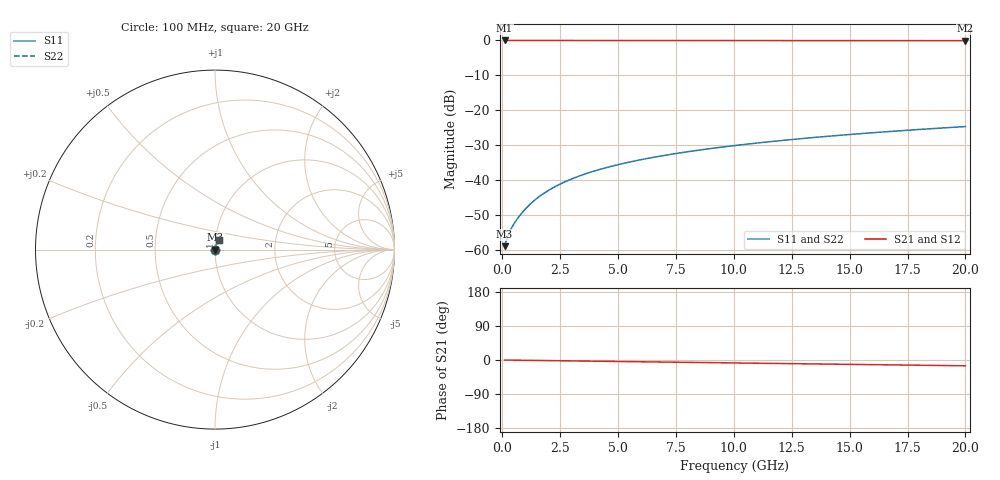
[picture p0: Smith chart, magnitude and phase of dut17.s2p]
! Touchstone file exported from HFSS 2026.1.0
!  File:  C:/ffzhzh/LocalFiles/Ansys_Project_Files/temp_train_TMRDL_17_1782880316_13352.aedt
!  Generated:  12:33:09 PM Jul  1, 2026
!  Design:  TMRDL
!  Project:  temp_train_TMRDL_17_1782880316_13352
! Variables:
!  h_bsmrdl = 2um
!  h_ox = 20um
!  h_rdl = 5um
!  h_sub = 80um
!  h_tmrdl = 4.51um
!  h_tsv = 80um
!  h_via = 3um
!  l_bsmrdl = 300um
!  l_sub = 650.76um
!  l_tmrdl = 250.76um
!  m_sub = 200um
!  pitch = 32.81um
!  r_tsv = 6um
!  s_tmrdl = 10um
!  w_bsmrdl = 18um
!  w_sub = 500um
!  w_tmrdl = 24.28um
!  x_tsv_center1 = 262.9um
!  x_tsv_center2 = 580.9um
!  x_tsv_center3 = 855.94um
!  x_tsv_center4 = 1173.94um
!  x_tsv_center5 = 1448.98um
!  x_tsv_center6 = 1766.98um
# GHz S MA R 50.000000
! Terminal data exported
! Port[1] = TM_RDL1_1_T1
! Port[2] = TM_RDL1_1_T2
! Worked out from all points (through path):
!   200 points, 100 MHz to 20 GHz, reference 50 ohm
!   highest |S21| = -0.01 dB at 100 MHz (marker M1); lowest = -0.1 dB at 20 GHz (marker M2)
!   group delay of S21, straight-line fit = 2.12 ps
!   lowest |S11| = -58.8 dB at 100 MHz (marker M3), VSWR 1.00, Z = 50.1 + j0.0507 ohm
!   |S11| at or under -10 dB: start of sweep to end of sweep
!   |S22| runs from -58.8 to -24.6 dB; largest |S21 - S12| = 6.3e-15
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0.1  0.001143 26.3  0.999 -0.1  0.999 -0.1  0.001143 26.3
! Gamma 0 0 0 0
! Port Impedance 50 0 50 0
0.2  0.001471 39.0  0.9989 -0.2  0.9989 -0.2  0.001471 39.0
0.3  0.001786 45.8  0.9988 -0.3  0.9988 -0.3  0.001786 45.8
0.4  0.002082 50.7  0.9987 -0.3  0.9987 -0.3  0.002082 50.7
0.5  0.002373 54.7  0.9986 -0.4  0.9986 -0.4  0.002373 54.7
0.8  0.003275 63.1  0.9985 -0.6  0.9985 -0.6  0.003275 63.1
1  0.003906 66.7  0.9985 -0.8  0.9985 -0.8  0.003906 66.7
1.2  0.004551 69.3  0.9984 -1.0  0.9984 -1.0  0.004551 69.3
1.4  0.005206 71.1  0.9984 -1.1  0.9984 -1.1  0.005206 71.1
1.7  0.006197 73.1  0.9983 -1.4  0.9983 -1.4  0.006197 73.1
2.2  0.007852 74.9  0.9982 -1.7  0.9982 -1.7  0.007852 74.9
2.8  0.009821 75.9  0.9979 -2.2  0.9979 -2.2  0.009821 75.9
3.5  0.01208 76.3  0.9976 -2.8  0.9976 -2.8  0.01208 76.3
4.2  0.01428 76.4  0.9973 -3.3  0.9973 -3.3  0.01428 76.4
5  0.01675 76.2  0.997 -3.9  0.997 -3.9  0.01675 76.2
5.9  0.01946 75.9  0.9966 -4.6  0.9966 -4.6  0.01946 75.9
6.8  0.02211 75.6  0.9963 -5.3  0.9963 -5.3  0.02211 75.6
8.3  0.02646 74.9  0.9957 -6.5  0.9957 -6.5  0.02646 74.9
10.1  0.03158 74.1  0.9951 -7.8  0.9951 -7.8  0.03158 74.1
13.4  0.04078 72.4  0.994 -10.3  0.994 -10.3  0.04078 72.4
16.7  0.0498 70.5  0.9929 -12.8  0.9929 -12.8  0.0498 70.5
20  0.05865 68.5  0.9919 -15.3  0.9919 -15.3  0.05865 68.5
